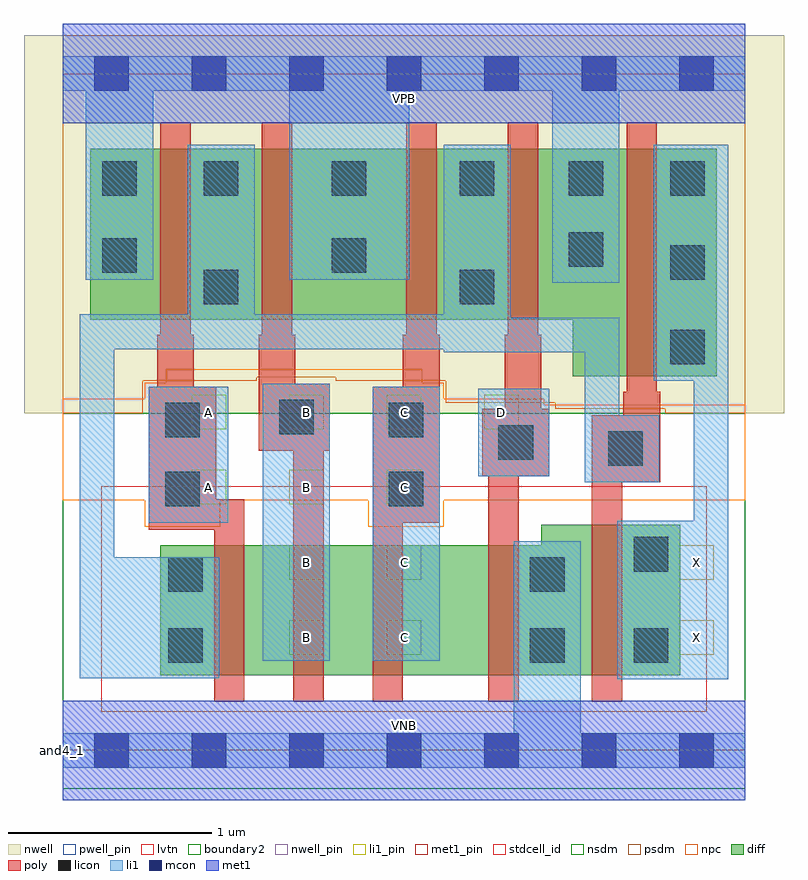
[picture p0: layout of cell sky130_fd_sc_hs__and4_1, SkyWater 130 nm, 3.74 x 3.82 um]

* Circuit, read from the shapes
.subckt sky130_fd_sc_hs__and4_1 A B C D VGND VNB VPB VPWR X
XM1 n1 A n2 VNB sky130_fd_pr__nfet_01v8_lvt w=0.64 l=0.15
XM2 n3 B n1 VNB sky130_fd_pr__nfet_01v8_lvt w=0.64 l=0.15
XM3 n4 C n3 VNB sky130_fd_pr__nfet_01v8_lvt w=0.64 l=0.15
XM4 VGND D n4 VNB sky130_fd_pr__nfet_01v8_lvt w=0.64 l=0.15
XM5 X n2 VGND VNB sky130_fd_pr__nfet_01v8_lvt w=0.74 l=0.15
XM6 n2 A VPWR VPB sky130_fd_pr__pfet_01v8 w=0.84 l=0.15
XM7 VPWR B n2 VPB sky130_fd_pr__pfet_01v8 w=0.84 l=0.15
XM8 n2 C VPWR VPB sky130_fd_pr__pfet_01v8 w=0.84 l=0.15
XM9 VPWR D n2 VPB sky130_fd_pr__pfet_01v8 w=0.84 l=0.15
XM10 X n2 VPWR VPB sky130_fd_pr__pfet_01v8 w=1.12 l=0.15
.ends

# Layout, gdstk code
import gdstk
lib = gdstk.Library(unit=1e-6, precision=1e-09)
def R(c, l, rs):  # rectangles x0, y0, x1, y1
    for r in rs: c.add(gdstk.rectangle(r[:2], r[2:], *l))
def A(c, l, x, y, w, h, nx, ny, dx, dy):  # array of equal rectangles
    R(c, l, [(x+i*dx, y+j*dy, x+i*dx+w, y+j*dy+h) for i in range(nx) for j in range(ny)])
def P(c, l, *ps):  # polygons
    for p in ps: c.add(gdstk.Polygon(p, *l))
nwell_pin = (64, 16)
nwell = (64, 20)
diff = (65, 20)
poly = (66, 20)
licon = (66, 44)
li1_pin = (67, 16)
li1 = (67, 20)
mcon = (67, 44)
met1_pin = (68, 16)
met1 = (68, 20)
stdcell_id = (81, 4)
nsdm = (93, 44)
psdm = (94, 20)
npc = (95, 20)
pwell_pin = (122, 16)
lvtn = (125, 44)
boundary2 = (236, 0)

sky130_fd_sc_hs__and4_1 = lib.new_cell('sky130_fd_sc_hs__and4_1')
R(sky130_fd_sc_hs__and4_1, nwell_pin, [(0,3.085,3.36,3.33)])
R(sky130_fd_sc_hs__and4_1, nwell, [(-0.19,1.66,3.55,3.52)])
P(sky130_fd_sc_hs__and4_1, diff, [(3.04,1.11),(2.355,1.11),(2.355,1.01),(0.48,1.01),(0.48,0.37),(3.04,0.37)],
  [(3.22,2.96),(0.135,2.96),(0.135,2.12),(2.51,2.12),(2.51,1.84),(3.22,1.84)])
P(sky130_fd_sc_hs__and4_1, poly, [(2.395,1.68),(2.355,1.68),(2.355,2.045),(2.34,2.045),(2.34,3.09),(2.19,3.09),(2.19,2.045),(2.175,2.045),(2.175,1.68),(2.065,1.68),(2.065,1.35),(2.095,1.35),(2.095,0.24),(2.245,0.24),(2.245,1.35),(2.395,1.35)],
  [(1.855,2.045),(1.84,2.045),(1.84,3.09),(1.69,3.09),(1.69,2.045),(1.675,2.045),(1.675,1.79),(1.525,1.79),(1.525,0.24),(1.675,0.24),(1.675,1.12),(1.855,1.12)],
  [(1.315,1.805),(1.145,1.805),(1.145,2.045),(1.13,2.045),(1.13,3.09),(0.98,3.09),(0.98,2.045),(0.965,2.045),(0.965,1.475),(1.135,1.475),(1.135,0.24),(1.285,0.24),(1.285,1.475),(1.315,1.475)],
  [(0.895,1.235),(0.755,1.235),(0.755,1.79),(0.645,1.79),(0.645,2.045),(0.63,2.045),(0.63,3.09),(0.48,3.09),(0.48,2.045),(0.465,2.045),(0.465,1.79),(0.425,1.79),(0.425,1.085),(0.745,1.085),(0.745,0.24),(0.895,0.24)],
  [(2.94,1.765),(2.925,1.765),(2.925,3.09),(2.775,3.09),(2.775,1.765),(2.76,1.765),(2.76,1.65),(2.605,1.65),(2.605,0.24),(2.755,0.24),(2.755,1.32),(2.94,1.32)])
A(sky130_fd_sc_hs__and4_1, licon, 2.99, 1.9, 0.17, 0.17, 1, 3, 0, 0.415)
A(sky130_fd_sc_hs__and4_1, licon, 0.695, 2.73, 0.17, 0.17, 3, 1, 0.63, 0)
R(sky130_fd_sc_hs__and4_1, licon, [(0.52,0.43,0.69,0.6), (2.3,0.43,2.47,0.6), (2.81,0.43,2.98,0.6), (0.52,0.78,0.69,0.95), (2.3,0.78,2.47,0.95), (2.81,0.88,2.98,1.05), (0.505,1.2,0.675,1.37), (1.605,1.2,1.775,1.37), (2.685,1.4,2.855,1.57), (2.145,1.43,2.315,1.6), (0.505,1.54,0.675,1.71), (1.605,1.54,1.775,1.71), (1.065,1.555,1.235,1.725), (0.695,2.195,0.865,2.365), (1.955,2.195,2.125,2.365), (0.195,2.35,0.365,2.52), (1.325,2.35,1.495,2.52), (2.49,2.38,2.66,2.55), (0.195,2.73,0.365,2.9), (2.49,2.73,2.66,2.9)])
A(sky130_fd_sc_hs__and4_1, li1_pin, 0.635, 1.21, 0.17, 0.17, 3, 1, 0.48, 0)
A(sky130_fd_sc_hs__and4_1, li1_pin, 0.635, 1.58, 0.17, 0.17, 4, 1, 0.48, 0)
R(sky130_fd_sc_hs__and4_1, li1_pin, [(1.115,0.47,1.285,0.64), (1.595,0.47,1.765,0.64), (3.035,0.47,3.205,0.64), (1.115,0.84,1.285,1.01), (1.595,0.84,1.765,1.01), (3.035,0.84,3.205,1.01)])
R(sky130_fd_sc_hs__and4_1, li1, [(0.985,0.44,1.315,1.805), (1.525,0.44,1.855,1.79), (0.425,1.12,0.815,1.79), (2.045,1.35,2.395,1.78)])
P(sky130_fd_sc_hs__and4_1, li1, [(0,-0.085),(0,0.085),(2.22,0.085),(2.22,1.03),(2.55,1.03),(2.55,0.085),(3.36,0.085),(3.36,-0.085)],
  [(0,3.245),(0,3.415),(3.36,3.415),(3.36,3.245),(2.74,3.245),(2.74,2.3),(2.41,2.3),(2.41,3.245),(1.705,3.245),(1.705,2.315),(1.115,2.315),(1.115,3.245),(0.445,3.245),(0.445,2.315),(0.115,2.315),(0.115,3.245)],
  [(2.73,0.35),(2.73,1.13),(3.105,1.13),(3.105,1.82),(2.91,1.82),(2.91,2.98),(3.275,2.98),(3.275,0.35)],
  [(0.085,0.355),(0.085,2.145),(0.615,2.145),(0.615,2.98),(0.945,2.98),(0.945,2.145),(1.875,2.145),(1.875,2.98),(2.205,2.98),(2.205,2.13),(2.74,2.13),(2.74,1.65),(2.935,1.65),(2.935,1.32),(2.57,1.32),(2.57,1.96),(1.875,1.96),(1.875,1.975),(0.255,1.975),(0.255,0.95),(0.77,0.95),(0.77,0.355)])
A(sky130_fd_sc_hs__and4_1, mcon, 0.155, -0.085, 0.17, 0.17, 7, 2, 0.48, 3.33)
R(sky130_fd_sc_hs__and4_1, met1_pin, [(0,0,3.36,0.245), (0,3.085,3.36,3.33)])
R(sky130_fd_sc_hs__and4_1, met1, [(0,-0.245,3.36,0.245), (0,3.085,3.36,3.575)])
R(sky130_fd_sc_hs__and4_1, stdcell_id, [(0,0,3.36,3.33)])
R(sky130_fd_sc_hs__and4_1, nsdm, [(0,-0.19,3.36,1.66)])
P(sky130_fd_sc_hs__and4_1, psdm, [(3.36,3.52),(0,3.52),(0,1.66),(0.395,1.66),(0.395,1.82),(0.955,1.82),(0.955,1.835),(1.345,1.835),(1.345,1.82),(1.885,1.82),(1.885,1.71),(2.425,1.71),(2.425,1.68),(2.965,1.68),(2.965,1.66),(3.36,1.66)])
P(sky130_fd_sc_hs__and4_1, npc, [(3.36,1.7),(2.37,1.7),(2.37,1.73),(1.875,1.73),(1.875,1.81),(1.77,1.81),(1.77,1.875),(0.51,1.875),(0.51,1.81),(0.405,1.81),(0.405,1.73),(0,1.73),(0,1.23),(0.405,1.23),(0.405,1.1),(0.775,1.1),(0.775,1.23),(1.505,1.23),(1.505,1.1),(1.875,1.1),(1.875,1.23),(3.36,1.23)])
R(sky130_fd_sc_hs__and4_1, pwell_pin, [(0,0,3.36,0.245)])
R(sky130_fd_sc_hs__and4_1, lvtn, [(0.19,0.19,3.17,1.3)])
R(sky130_fd_sc_hs__and4_1, boundary2, [(0,0,3.36,3.33)])
sky130_fd_sc_hs__and4_1.add(gdstk.Label('and4_1', (0,0), layer=83, texttype=44))
sky130_fd_sc_hs__and4_1.add(gdstk.Label('VNB', (1.68,0.123), layer=64, texttype=59))
sky130_fd_sc_hs__and4_1.add(gdstk.Label('VPB', (1.68,3.208), layer=64, texttype=5))
sky130_fd_sc_hs__and4_1.add(gdstk.Label('VPWR', (1.68,3.208), layer=68, texttype=5))
sky130_fd_sc_hs__and4_1.add(gdstk.Label('VGND', (1.68,0.123), layer=68, texttype=5))
sky130_fd_sc_hs__and4_1.add(gdstk.Label('A', (0.72,1.295), layer=67, texttype=5))
sky130_fd_sc_hs__and4_1.add(gdstk.Label('A', (0.72,1.665), layer=67, texttype=5))
sky130_fd_sc_hs__and4_1.add(gdstk.Label('B', (1.2,0.555), layer=67, texttype=5))
sky130_fd_sc_hs__and4_1.add(gdstk.Label('B', (1.2,0.925), layer=67, texttype=5))
sky130_fd_sc_hs__and4_1.add(gdstk.Label('B', (1.2,1.295), layer=67, texttype=5))
sky130_fd_sc_hs__and4_1.add(gdstk.Label('B', (1.2,1.665), layer=67, texttype=5))
sky130_fd_sc_hs__and4_1.add(gdstk.Label('C', (1.68,0.555), layer=67, texttype=5))
sky130_fd_sc_hs__and4_1.add(gdstk.Label('C', (1.68,0.925), layer=67, texttype=5))
sky130_fd_sc_hs__and4_1.add(gdstk.Label('C', (1.68,1.295), layer=67, texttype=5))
sky130_fd_sc_hs__and4_1.add(gdstk.Label('C', (1.68,1.665), layer=67, texttype=5))
sky130_fd_sc_hs__and4_1.add(gdstk.Label('D', (2.16,1.665), layer=67, texttype=5))
sky130_fd_sc_hs__and4_1.add(gdstk.Label('X', (3.12,0.555), layer=67, texttype=5))
sky130_fd_sc_hs__and4_1.add(gdstk.Label('X', (3.12,0.925), layer=67, texttype=5))

lib.write_gds('sky130_fd_sc_hs__and4_1.gds')
